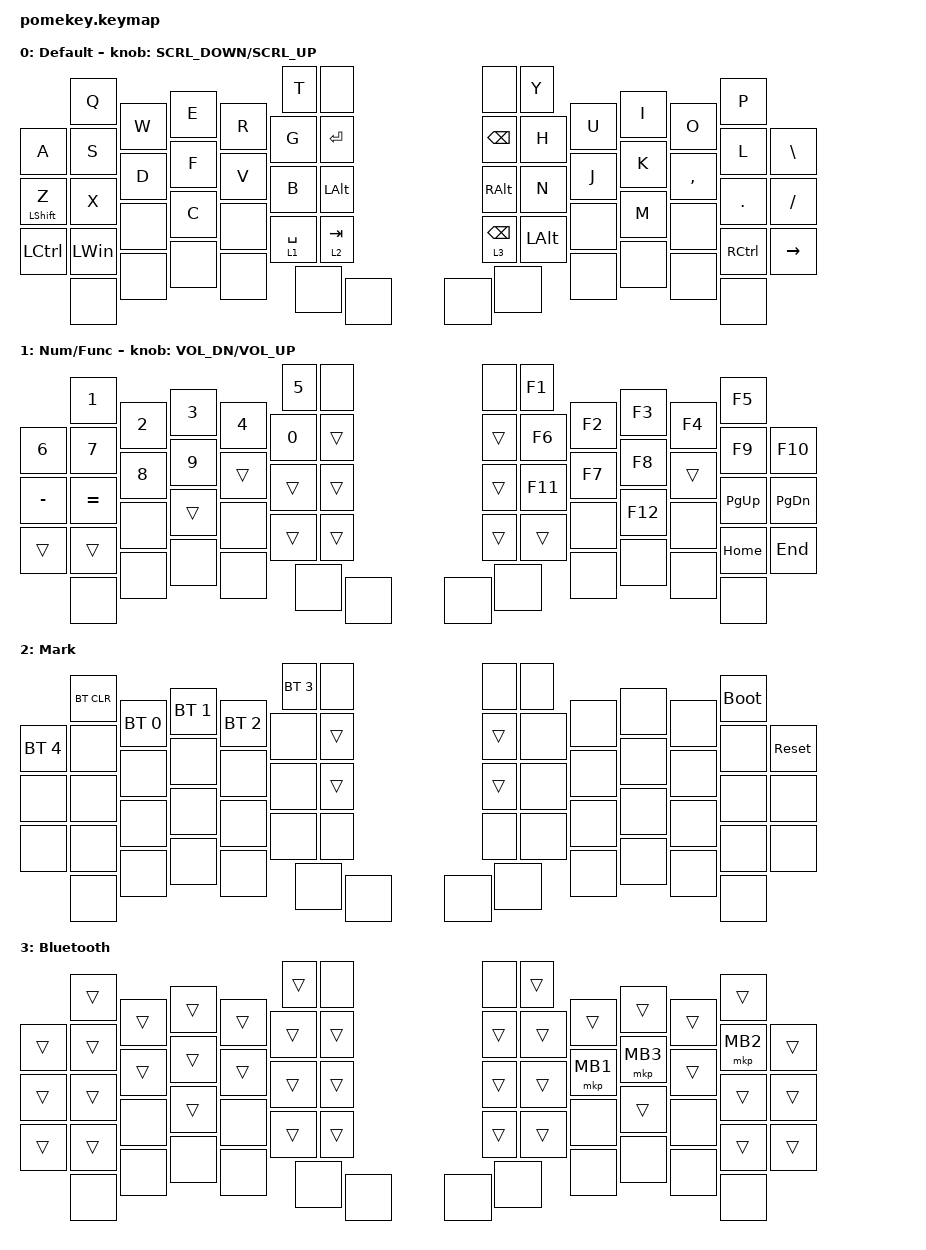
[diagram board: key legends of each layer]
#define ZMK_POINTING_DEFAULT_SCRL_VAL 200

#include <behaviors.dtsi>
#include <dt-bindings/zmk/bt.h>
#include <dt-bindings/zmk/keys.h>
#include <dt-bindings/zmk/pointing.h>
#include <dt-bindings/zmk/mouse.h>

&mt {
    tapping-term-ms = <200>;
    flavor = "balanced";
};

&lt {
    quick-tap-ms = <200>;
};

/ {
    macros {
        emoji: emoji_macro {
            compatible = "zmk,behavior-macro";
            label = "EMOJI";
            #binding-cells = <0>;
            bindings = 
                <&macro_press &kp CAPSLOCK>,
                <&macro_tap &kp E>,
                <&macro_release &kp CAPSLOCK>;
        };
    };

    behaviors {
        encoder_msc: sensor_rotate_msc {
            compatible = "zmk,behavior-sensor-rotate-var";
            #sensor-binding-cells = <2>;
            bindings = <&msc>, <&msc>;
            tap-ms = <20>;
        };

        encoder_kp: sensor_rotate_kp {
            compatible = "zmk,behavior-sensor-rotate-var";
            #sensor-binding-cells = <2>;
            bindings = <&kp>, <&kp>;
        };
    };

    keymap {
        compatible = "zmk,keymap";

        default_layer {
            display-name = "Default";
            bindings = <
&kp Q                 &kp W        &kp E        &kp R      &kp T       &none        &none        &kp Y      &kp U      &kp I      &kp O      &kp P
&kp A                 &kp S        &kp D        &kp F      &kp G       &kp ENTER     &kp BSPC     &kp H      &kp J      &kp K      &kp L      &kp BSLH
&mt LEFT_SHIFT Z      &kp X        &kp C        &kp V      &kp B       &kp LALT      &kp RALT      &kp N      &kp M      &kp COMMA  &kp DOT    &kp SLASH
&kp LCTRL             &kp LEFT_WIN &none        &none      &lt 1 SPACE &lt 2 TAB    &lt 3 BSPC   &kp LALT   &none      &none      &kp RCTRL  &kp RIGHT
&none                                                                                                           &none
    &none      &none      &none      &none      &none      &none      &none      &none      &none      &none
            >;

            sensor-bindings = <&encoder_msc SCRL_DOWN SCRL_UP>;
        };

        layer_1 {
            display-name = "Num/Func";
            bindings = <
&kp N1     &kp N2     &kp N3     &kp N4     &kp N5     &none        &none      &kp F1     &kp F2     &kp F3     &kp F4     &kp F5
&kp N6     &kp N7     &kp N8     &kp N9     &kp N0     &trans       &trans     &kp F6     &kp F7     &kp F8     &kp F9     &kp F10
&kp MINUS  &kp EQUAL  &trans     &trans     &trans     &trans       &trans     &kp F11    &kp F12    &trans     &kp PG_UP  &kp PG_DN
&trans     &trans     &none      &none      &trans     &trans       &trans     &trans     &none      &none      &kp HOME   &kp END
&none
    &none      &none      &none      &none      &none      &none      &none      &none      &none      &none      &none
            >;
            
            sensor-bindings = <&encoder_kp C_VOL_DN C_VOL_UP>;
        };

        layer_2 {
            display-name = "Mark";
            bindings = <
&bt BT_CLR   &bt BT_SEL 0 &bt BT_SEL 1 &bt BT_SEL 2 &bt BT_SEL 3 &none        &none      &none      &none      &none      &none        &bootloader
&bt BT_SEL 4 &none        &none        &none        &none        &trans       &trans     &none      &none      &none      &none        &sys_reset
&none        &none        &none        &none        &none        &trans       &trans     &none      &none      &none      &none        &none
&none        &none        &none        &none        &none        &none        &none      &none      &none      &none      &none        &none
&none
&none      &none      &none      &none      &none      &none      &none      &none      &none      &none      &none
            >;
        };

        layer_3 {
            display-name = "Bluetooth";
            bindings = <
&trans     &trans       &trans       &trans       &trans       &none        &none      &trans     &trans       &trans       &trans       &trans
&trans     &trans       &trans       &trans       &trans       &trans       &trans     &trans     &mkp MB1     &mkp MB3     &mkp MB2     &trans
&trans     &trans       &trans       &trans       &trans       &trans       &trans     &trans     &trans       &trans       &trans       &trans
&trans     &trans       &none        &none        &trans       &trans       &trans     &trans     &none        &none        &trans       &trans
&none
    &none      &none      &none      &none      &none      &none      &none      &none      &none      &none      &none
            >;
        };
    };
};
